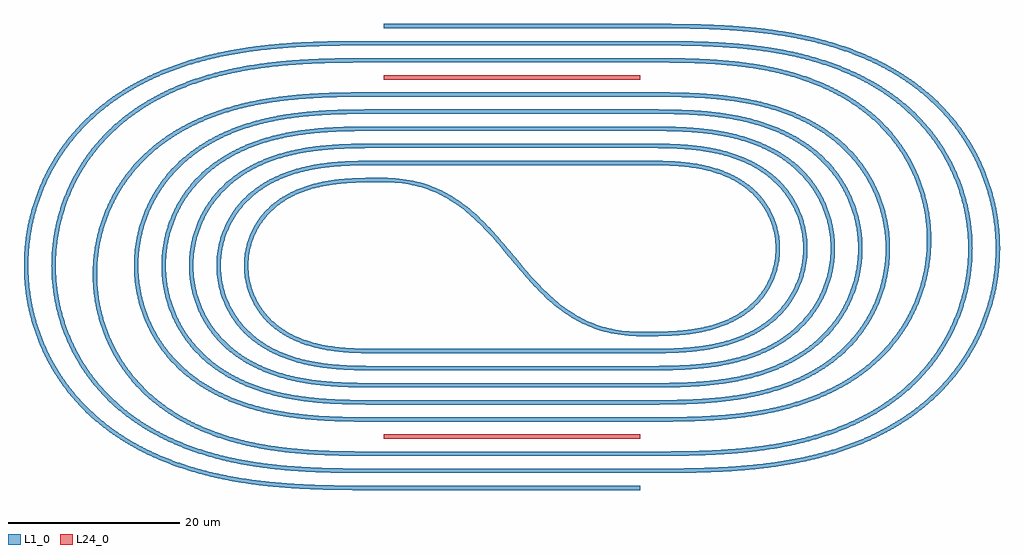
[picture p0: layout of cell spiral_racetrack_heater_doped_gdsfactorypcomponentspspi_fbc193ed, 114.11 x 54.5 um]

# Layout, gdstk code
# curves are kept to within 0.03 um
from math import pi, radians
import gdstk
lib = gdstk.Library(unit=1e-6, precision=1e-09)
def R(c, l, rs):  # rectangles x0, y0, x1, y1
    for r in rs: c.add(gdstk.rectangle(r[:2], r[2:], *l))
def P(c, l, *ps):  # polygons
    for p in ps: c.add(gdstk.Polygon(p, *l))
L1_0 = (1, 0)
L24_0 = (24, 0)

bend_s_gdsfactorypcompon = lib.new_cell('bend_s_gdsfactorypcomponentspbendspbend_s_S30_m18_N99_C_290427a1')
P(bend_s_gdsfactorypcompon, L1_0, [(30,-18.25),(29.088,-18.228),(27.785,-18.112),(26.959,-17.984),(25.78,-17.717),(25.031,-17.494),(23.962,-17.095),(22.953,-16.624),(21.998,-16.088),(21.094,-15.495),(20.235,-14.849),(19.415,-14.159),(18.375,-13.181),(16.665,-11.35),(13.426,-7.518),(12.008,-5.931),(10.513,-4.448),(8.901,-3.118),(8.039,-2.525),(7.132,-1.987),(5.507,-1.23),(4.09,-0.765),(2.95,-0.508),(1.317,-0.299),(0,-0.25),(0,0.25),(0.912,0.228),(2.215,0.112),(3.041,-0.016),(4.22,-0.283),(4.969,-0.506),(6.038,-0.905),(7.047,-1.376),(8.002,-1.912),(8.906,-2.505),(9.765,-3.151),(10.585,-3.841),(11.625,-4.819),(13.335,-6.65),(16.574,-10.482),(17.992,-12.069),(19.487,-13.552),(21.099,-14.882),(21.961,-15.475),(22.868,-16.013),(24.493,-16.77),(25.91,-17.235),(27.05,-17.492),(28.683,-17.701),(30,-17.75)])

bend_euler_gdsfactorypco = lib.new_cell('bend_euler_gdsfactorypcomponentspbendspbend_euler_R10_A_1eac9e25')
P(bend_euler_gdsfactorypco, L1_0, [(0,-0.25),(0,0.25),(2.604,0.273),(4.503,0.368),(6.214,0.563),(7.73,0.858),(8.883,1.184),(9.845,1.539),(10.772,1.97),(11.655,2.481),(12.614,3.182),(13.475,3.996),(14.121,4.779),(14.755,5.779),(15.188,6.697),(15.556,7.822),(15.77,8.987),(15.828,10),(15.77,11.013),(15.556,12.178),(15.188,13.303),(14.755,14.221),(14.121,15.221),(13.475,16.004),(12.614,16.818),(11.655,17.519),(10.772,18.03),(9.845,18.461),(8.883,18.816),(7.73,19.142),(6.214,19.437),(4.503,19.632),(2.604,19.727),(0,19.75),(0,20.25),(2.268,20.235),(4.192,20.156),(5.766,20.005),(7.158,19.779),(8.531,19.447),(9.707,19.055),(10.844,18.555),(12.075,17.842),(12.795,17.316),(13.594,16.602),(14.195,15.94),(14.73,15.224),(15.194,14.46),(15.583,13.655),(15.893,12.817),(16.122,11.953),(16.267,11.071),(16.328,10),(16.285,9.107),(16.157,8.222),(15.893,7.183),(15.583,6.345),(15.194,5.54),(14.73,4.776),(14.195,4.06),(13.594,3.398),(13.07,2.912),(12.368,2.361),(11.624,1.872),(10.844,1.445),(9.207,0.765),(7.331,0.256),(5.417,-0.047),(2.967,-0.217)])

straight_gdsfactorypcomp = lib.new_cell('straight_gdsfactorypcomponentspwaveguidespstraight_L30__a17b4e39')
R(straight_gdsfactorypcomp, L1_0, [(0,-0.25,30,0.25)])

c_bend_euler_gdsfactorypco = lib.new_cell('bend_euler_gdsfactorypcomponentspbendspbend_euler_R12_A_25572104')
P(c_bend_euler_gdsfactorypco, L1_0, [(0,-0.25),(0,0.25),(3.107,0.277),(5.169,0.374),(7.216,0.589),(9.067,0.929),(10.386,1.281),(11.671,1.734),(12.909,2.298),(13.94,2.888),(15.042,3.677),(16.043,4.589),(16.928,5.628),(17.673,6.772),(18.265,8.002),(18.695,9.298),(18.956,10.638),(19.044,12),(18.956,13.362),(18.695,14.702),(18.265,15.998),(17.673,17.228),(16.928,18.372),(16.043,19.411),(15.042,20.323),(13.94,21.112),(12.909,21.702),(11.671,22.266),(10.386,22.719),(9.067,23.071),(7.216,23.411),(5.169,23.626),(3.107,23.723),(0,23.75),(0,24.25),(2.773,24.231),(5.032,24.137),(6.941,23.953),(8.665,23.669),(10.197,23.297),(11.858,22.73),(13.294,22.065),(14.504,21.341),(15.493,20.601),(16.277,19.887),(16.998,19.093),(17.639,18.234),(18.195,17.317),(18.66,16.351),(19.031,15.344),(19.303,14.307),(19.474,13.249),(19.544,12),(19.492,10.929),(19.338,9.868),(19.083,8.827),(18.729,7.814),(18.195,6.683),(17.639,5.766),(16.998,4.907),(16.277,4.113),(15.628,3.513),(14.794,2.86),(13.908,2.281),(12.981,1.774),(12.02,1.337),(11.034,0.965),(9.008,0.403),(7.632,0.146),(6.421,-0.015),(3.815,-0.201)])

c_bend_euler_gdsfactorypco_ = lib.new_cell('bend_euler_gdsfactorypcomponentspbendspbend_euler_R14_A_e64b8990')
P(c_bend_euler_gdsfactorypco_, L1_0, [(0,-0.25),(0,0.25),(3.611,0.281),(6.008,0.393),(8.389,0.641),(10.404,1.002),(12.052,1.431),(13.656,1.994),(15.046,2.627),(16.368,3.387),(17.602,4.278),(18.847,5.428),(19.837,6.614),(20.674,7.914),(21.343,9.307),(21.835,10.772),(22.164,12.457),(22.259,14),(22.164,15.543),(21.835,17.228),(21.343,18.693),(20.674,20.086),(19.837,21.386),(18.847,22.572),(17.602,23.722),(16.368,24.613),(15.046,25.373),(13.656,26.006),(12.052,26.569),(10.404,26.998),(8.389,27.359),(6.008,27.607),(3.611,27.719),(0,27.75),(0,28.25),(3.278,28.227),(5.871,28.118),(8.287,27.878),(10.172,27.559),(12.03,27.097),(13.843,26.469),(15.429,25.738),(16.931,24.841),(18.053,23.999),(18.96,23.172),(19.801,22.246),(20.549,21.243),(21.196,20.173),(21.738,19.046),(22.168,17.872),(22.519,16.487),(22.699,15.249),(22.759,14),(22.699,12.751),(22.519,11.513),(22.168,10.128),(21.738,8.954),(21.196,7.827),(20.549,6.757),(19.914,5.893),(19.086,4.956),(18.32,4.229),(17.361,3.462),(16.342,2.78),(15.274,2.182),(14.166,1.664),(12.861,1.166),(11.695,0.807),(10.172,0.441),(8.803,0.197),(7.253,-0.001),(4.142,-0.204)])

c_bend_euler_gdsfactorypco__ = lib.new_cell('bend_euler_gdsfactorypcomponentspbendspbend_euler_R16_A_886625e9')
P(c_bend_euler_gdsfactorypco__, L1_0, [(0,-0.25),(0,0.25),(4.145,0.286),(7.07,0.428),(9.633,0.703),(11.829,1.095),(13.654,1.563),(15.434,2.172),(17.149,2.938),(18.632,3.78),(20.153,4.873),(21.528,6.14),(22.205,6.903),(22.726,7.574),(23.645,9.004),(24.388,10.532),(24.744,11.488),(24.988,12.302),(25.184,13.129),(25.353,14.135),(25.439,14.981),(25.475,16),(25.439,17.019),(25.353,17.865),(25.184,18.871),(24.988,19.698),(24.744,20.512),(24.388,21.468),(23.645,22.996),(22.726,24.426),(22.205,25.097),(21.528,25.86),(20.153,27.127),(18.632,28.22),(17.149,29.062),(15.434,29.828),(13.654,30.437),(11.829,30.905),(9.633,31.297),(7.07,31.572),(4.145,31.714),(0,31.75),(0,32.25),(3.638,32.226),(6.587,32.107),(9.013,31.883),(11.423,31.5),(13.629,30.966),(15.779,30.229),(17.531,29.428),(18.451,28.917),(19.34,28.353),(20.604,27.404),(21.644,26.457),(22.59,25.415),(23.434,24.289),(24.166,23.087),(24.781,21.821),(25.326,20.335),(25.674,18.971),(25.908,17.406),(25.975,16),(25.908,14.594),(25.674,13.029),(25.326,11.665),(24.781,10.179),(24.166,8.913),(23.434,7.711),(22.59,6.585),(21.644,5.543),(20.739,4.709),(19.629,3.847),(18.601,3.173),(17.375,2.492),(16.103,1.904),(14.63,1.347),(13.124,0.894),(11.765,0.57),(10.049,0.259),(8.494,0.057),(6.587,-0.107),(4.852,-0.193)])

c_bend_euler_gdsfactorypco___ = lib.new_cell('bend_euler_gdsfactorypcomponentspbendspbend_euler_R18_A_66ef1155')
P(c_bend_euler_gdsfactorypco___, L1_0, [(0,-0.25),(0,0.25),(4.133,0.278),(7.395,0.411),(10.467,0.709),(13.166,1.17),(15.32,1.713),(17.419,2.432),(19.286,3.267),(21.06,4.279),(22.713,5.475),(23.608,6.257),(24.213,6.856),(24.898,7.619),(25.534,8.423),(26.117,9.267),(26.646,10.146),(27.117,11.056),(27.529,11.995),(27.881,12.958),(28.171,13.942),(28.398,14.942),(28.56,15.954),(28.658,16.975),(28.691,18),(28.658,19.025),(28.56,20.046),(28.398,21.058),(28.171,22.058),(27.881,23.042),(27.529,24.005),(27.117,24.944),(26.646,25.854),(26.117,26.733),(25.534,27.577),(24.898,28.381),(24.213,29.144),(23.608,29.743),(22.713,30.525),(21.06,31.721),(19.286,32.733),(17.419,33.568),(15.32,34.287),(13.166,34.83),(10.467,35.291),(7.395,35.589),(4.133,35.722),(0,35.75),(0,36.25),(4.143,36.222),(7.427,36.088),(10.188,35.831),(12.93,35.39),(15.462,34.766),(17.764,33.969),(19.822,33.019),(21.622,31.95),(23.029,30.913),(24.203,29.865),(25.281,28.704),(26.244,27.444),(27.167,25.944),(27.858,24.517),(28.463,22.862),(28.854,21.326),(29.115,19.584),(29.191,18),(29.115,16.416),(28.889,14.847),(28.514,13.306),(27.927,11.645),(27.251,10.211),(26.343,8.702),(25.505,7.568),(24.574,6.51),(23.43,5.424),(22.196,4.449),(20.885,3.581),(19.511,2.821),(18.087,2.164),(16.457,1.548),(14.792,1.045),(13.1,0.645),(11.22,0.31),(9.499,0.089),(7.773,-0.064),(5.699,-0.177)])

c_bend_euler_gdsfactorypco____ = lib.new_cell('bend_euler_gdsfactorypcomponentspbendspbend_euler_R21_A_5efb3c37')
P(c_bend_euler_gdsfactorypco____, L1_0, [(0,-0.25),(0,0.25),(4.99,0.286),(8.764,0.447),(12.177,0.78),(13.87,1.036),(15.382,1.327),(17.869,1.954),(20.293,2.781),(22.474,3.752),(23.526,4.314),(24.548,4.929),(25.673,5.698),(26.614,6.428),(27.509,7.212),(28.359,8.054),(29.158,8.954),(29.796,9.765),(30.482,10.754),(31.105,11.784),(31.66,12.852),(32.146,13.953),(32.614,15.246),(32.902,16.237),(33.169,17.411),(33.361,18.599),(33.476,19.797),(33.514,21),(33.476,22.203),(33.361,23.401),(33.169,24.589),(32.902,25.763),(32.614,26.754),(32.146,28.047),(31.66,29.148),(31.105,30.216),(30.482,31.246),(29.796,32.235),(29.158,33.046),(28.359,33.946),(27.509,34.788),(26.614,35.572),(25.673,36.302),(24.548,37.071),(23.526,37.686),(22.474,38.248),(20.293,39.219),(17.869,40.046),(15.382,40.673),(13.87,40.964),(12.177,41.22),(8.764,41.553),(4.99,41.714),(0,41.75),(0,42.25),(5.001,42.214),(8.798,42.052),(12.07,41.738),(14.977,41.267),(16.67,40.889),(18.01,40.526),(19.334,40.104),(20.637,39.621),(22.854,38.616),(24.075,37.947),(25.11,37.303),(26.661,36.177),(28.103,34.914),(29.428,33.501),(30.608,31.959),(31.627,30.307),(32.405,28.723),(33.09,26.906),(33.625,24.858),(33.917,22.939),(34.014,21),(33.934,19.237),(33.66,17.315),(33.195,15.431),(32.543,13.602),(31.711,11.849),(30.707,10.187),(29.654,8.771),(28.477,7.456),(27.199,6.266),(25.968,5.294),(24.374,4.232),(22.854,3.384),(21.119,2.577),(19.334,1.896),(17.676,1.378),(15.656,0.874),(13.613,0.486),(11.382,0.179),(9.143,-0.028),(6.554,-0.168),(3.965,-0.232)])

c_bend_euler_gdsfactorypco_____ = lib.new_cell('bend_euler_gdsfactorypcomponentspbendspbend_euler_R24_A_7d40b3c7')
P(c_bend_euler_gdsfactorypco_____, L1_0, [(0,-0.25),(0,0.25),(5.503,0.287),(9.962,0.471),(13.717,0.83),(15.412,1.075),(17.264,1.414),(18.766,1.751),(20.253,2.147),(21.721,2.605),(23.007,3.068),(24.271,3.586),(25.662,4.237),(26.867,4.878),(28.036,5.579),(29.166,6.342),(30.251,7.166),(31.285,8.052),(32.264,9.001),(33.184,10.013),(34.038,11.081),(34.823,12.202),(35.535,13.37),(36.171,14.581),(36.794,15.988),(37.261,17.274),(37.647,18.586),(37.948,19.92),(38.164,21.271),(38.294,22.633),(38.338,24),(38.294,25.367),(38.164,26.729),(37.948,28.08),(37.647,29.414),(37.261,30.726),(36.794,32.012),(36.171,33.419),(35.535,34.63),(34.823,35.798),(34.038,36.919),(33.184,37.987),(32.264,38.999),(31.285,39.948),(30.251,40.834),(29.166,41.658),(28.036,42.421),(26.867,43.122),(25.662,43.763),(24.271,44.414),(23.007,44.932),(21.721,45.395),(20.253,45.853),(18.766,46.249),(17.264,46.586),(15.412,46.925),(13.717,47.17),(9.962,47.529),(5.503,47.713),(0,47.75),(0,48.25),(5.513,48.213),(9.823,48.039),(13.608,47.688),(15.492,47.419),(17.195,47.11),(19.053,46.693),(20.725,46.236),(22.373,45.699),(23.671,45.208),(24.946,44.66),(26.35,43.973),(27.564,43.297),(28.886,42.462),(30.7,41.113),(32.377,39.597),(33.9,37.908),(35.145,36.218),(36.223,34.417),(37.192,32.36),(37.894,30.382),(38.439,28.174),(38.738,26.097),(38.837,23.825),(38.702,21.555),(38.37,19.483),(37.843,17.451),(37.057,15.317),(36.14,13.429),(34.949,11.492),(33.789,9.957),(32.501,8.528),(30.968,7.109),(29.457,5.935),(27.862,4.882),(26.041,3.868),(24.152,2.991),(22.045,2.187),(19.891,1.526),(17.703,0.995),(15.492,0.581),(12.922,0.231),(10.34,-0.004),(7.237,-0.166),(4.479,-0.23)])

c_bend_euler_gdsfactorypco______ = lib.new_cell('bend_euler_gdsfactorypcomponentspbendspbend_euler_R26_A_8ce204ad')
P(c_bend_euler_gdsfactorypco______, L1_0, [(0,-0.25),(0,0.25),(6.008,0.291),(10.802,0.49),(12.85,0.655),(15.06,0.904),(16.921,1.18),(18.769,1.524),(20.269,1.861),(21.92,2.298),(23.549,2.806),(24.993,3.328),(26.255,3.845),(27.647,4.49),(29.004,5.203),(30.321,5.986),(31.592,6.841),(32.811,7.768),(33.845,8.652),(34.948,9.716),(35.986,10.859),(36.947,12.067),(37.826,13.337),(38.535,14.512),(39.249,15.88),(39.807,17.134),(40.345,18.581),(40.742,19.895),(41.096,21.398),(41.35,22.921),(41.502,24.457),(41.553,25.828),(41.513,27.372),(41.372,28.909),(41.129,30.434),(40.829,31.773),(40.399,33.256),(39.935,34.547),(39.323,35.965),(38.619,37.339),(37.826,38.663),(36.947,39.933),(36.097,41.01),(35.067,42.16),(33.971,43.233),(32.943,44.125),(31.592,45.159),(30.321,46.014),(29.004,46.797),(27.647,47.51),(26.255,48.155),(24.993,48.672),(23.549,49.194),(21.92,49.702),(20.269,50.139),(18.769,50.476),(16.921,50.82),(15.06,51.096),(12.85,51.345),(10.802,51.51),(6.008,51.709),(0,51.75),(0,52.25),(6.018,52.209),(10.663,52.02),(12.725,51.859),(14.783,51.636),(16.662,51.369),(18.532,51.034),(20.387,50.625),(21.892,50.23),(23.545,49.722),(25.334,49.076),(26.929,48.403),(28.486,47.645),(29.849,46.888),(31.314,45.962),(32.442,45.155),(33.394,44.401),(35.061,42.882),(35.906,41.992),(36.703,41.061),(38.054,39.227),(38.707,38.189),(39.306,37.119),(40.269,35.055),(41.032,32.909),(41.356,31.727),(41.62,30.529),(41.945,28.275),(42.03,27.051),(42.053,25.825),(42.012,24.599),(41.909,23.377),(41.551,21.128),(41.27,19.934),(40.928,18.756),(40.134,16.622),(39.141,14.572),(38.526,13.511),(37.858,12.482),(36.48,10.669),(35.061,9.118),(33.527,7.711),(31.883,6.434),(29.998,5.201),(28.023,4.119),(25.976,3.184),(23.709,2.333),(21.392,1.632),(18.87,1.034),(16.492,0.604),(13.926,0.263),(11.179,0.015),(8.083,-0.15),(4.814,-0.229)])

spiral_racetrack_gdsfact = lib.new_cell('spiral_racetrack_gdsfactorypcomponentspspiralspspiral_h_7ac50a2e')
spiral_racetrack_gdsfact.add(gdstk.Reference(bend_s_gdsfactorypcompon, (0,0)))
spiral_racetrack_gdsfact.add(gdstk.Reference(bend_euler_gdsfactorypco, (0,0), rotation=pi))
spiral_racetrack_gdsfact.add(gdstk.Reference(straight_gdsfactorypcomp, (0,-20)))
spiral_racetrack_gdsfact.add(gdstk.Reference(c_bend_euler_gdsfactorypco, (30,-20)))
spiral_racetrack_gdsfact.add(gdstk.Reference(straight_gdsfactorypcomp, (30,4), rotation=pi))
spiral_racetrack_gdsfact.add(gdstk.Reference(c_bend_euler_gdsfactorypco_, (0,4), rotation=pi))
spiral_racetrack_gdsfact.add(gdstk.Reference(straight_gdsfactorypcomp, (0,-24)))
spiral_racetrack_gdsfact.add(gdstk.Reference(c_bend_euler_gdsfactorypco__, (30,-24)))
spiral_racetrack_gdsfact.add(gdstk.Reference(straight_gdsfactorypcomp, (30,8), rotation=pi))
spiral_racetrack_gdsfact.add(gdstk.Reference(c_bend_euler_gdsfactorypco___, (0,8), rotation=pi))
spiral_racetrack_gdsfact.add(gdstk.Reference(straight_gdsfactorypcomp, (0,-28)))
spiral_racetrack_gdsfact.add(gdstk.Reference(c_bend_euler_gdsfactorypco____, (30,-28)))
spiral_racetrack_gdsfact.add(gdstk.Reference(straight_gdsfactorypcomp, (30,14), rotation=pi))
spiral_racetrack_gdsfact.add(gdstk.Reference(c_bend_euler_gdsfactorypco_____, (0,14), rotation=pi))
spiral_racetrack_gdsfact.add(gdstk.Reference(straight_gdsfactorypcomp, (0,-34)))
spiral_racetrack_gdsfact.add(gdstk.Reference(c_bend_euler_gdsfactorypco______, (30,-34)))
spiral_racetrack_gdsfact.add(gdstk.Reference(straight_gdsfactorypcomp, (30,18), rotation=pi))
spiral_racetrack_gdsfact.add(gdstk.Reference(bend_euler_gdsfactorypco, (30,-18)))
spiral_racetrack_gdsfact.add(gdstk.Reference(straight_gdsfactorypcomp, (30,2), rotation=pi))
spiral_racetrack_gdsfact.add(gdstk.Reference(c_bend_euler_gdsfactorypco, (0,2), rotation=pi))
spiral_racetrack_gdsfact.add(gdstk.Reference(straight_gdsfactorypcomp, (0,-22)))
spiral_racetrack_gdsfact.add(gdstk.Reference(c_bend_euler_gdsfactorypco_, (30,-22)))
spiral_racetrack_gdsfact.add(gdstk.Reference(straight_gdsfactorypcomp, (30,6), rotation=pi))
spiral_racetrack_gdsfact.add(gdstk.Reference(c_bend_euler_gdsfactorypco__, (0,6), rotation=pi))
spiral_racetrack_gdsfact.add(gdstk.Reference(straight_gdsfactorypcomp, (0,-26)))
spiral_racetrack_gdsfact.add(gdstk.Reference(c_bend_euler_gdsfactorypco___, (30,-26)))
spiral_racetrack_gdsfact.add(gdstk.Reference(straight_gdsfactorypcomp, (30,10), rotation=pi))
spiral_racetrack_gdsfact.add(gdstk.Reference(c_bend_euler_gdsfactorypco____, (0,10), rotation=pi))
spiral_racetrack_gdsfact.add(gdstk.Reference(straight_gdsfactorypcomp, (0,-32)))
spiral_racetrack_gdsfact.add(gdstk.Reference(c_bend_euler_gdsfactorypco_____, (30,-32)))
spiral_racetrack_gdsfact.add(gdstk.Reference(straight_gdsfactorypcomp, (30,16), rotation=pi))
spiral_racetrack_gdsfact.add(gdstk.Reference(c_bend_euler_gdsfactorypco______, (0,16), rotation=pi))
spiral_racetrack_gdsfact.add(gdstk.Reference(straight_gdsfactorypcomp, (0,-36)))

c_straight_gdsfactorypcomp = lib.new_cell('straight_gdsfactorypcomponentspwaveguidespstraight_L30__e3a8c66a')
R(c_straight_gdsfactorypcomp, L24_0, [(0,-0.25,30,0.25)])

spiral_racetrack_heater_ = lib.new_cell('spiral_racetrack_heater_doped_gdsfactorypcomponentspspi_fbc193ed')
spiral_racetrack_heater_.add(gdstk.Reference(spiral_racetrack_gdsfact, (0,0)))
spiral_racetrack_heater_.add(gdstk.Reference(c_straight_gdsfactorypcomp, (30,-30), rotation=pi))
spiral_racetrack_heater_.add(gdstk.Reference(c_straight_gdsfactorypcomp, (0,12)))

lib.write_gds('spiral_racetrack_heater_doped_gdsfactorypcomponentspspi_fbc193ed.gds')
